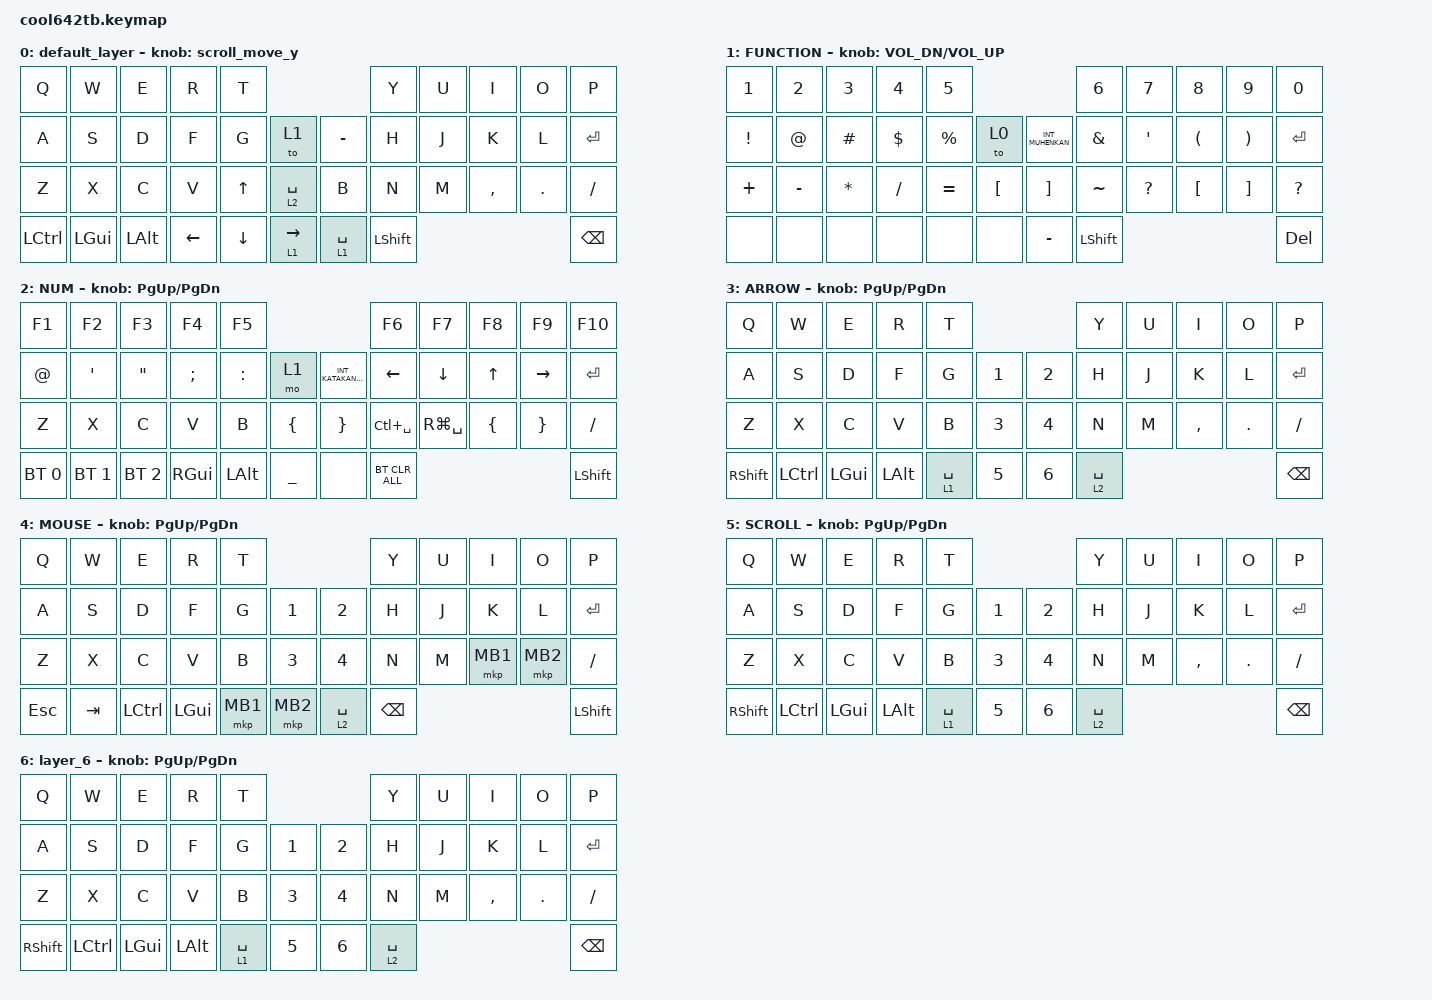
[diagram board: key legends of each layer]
#include <behaviors.dtsi>
#include <dt-bindings/zmk/bt.h>
#include <dt-bindings/zmk/keys.h>
#include <dt-bindings/zmk/pointing.h>

#define ZMK_MOUSE_DEFAULT_SCRL_VAL 100
#define MOUSE 4
#define SCROLL 5
#define NUM 6

&mt {
    flavor = "balanced";
    quick-tap-ms = <0>;
};

/ {
    combos {
        compatible = "zmk,combos";

        comb1 {
            bindings = <&kp TAB>;
            key-positions = <11 10>;
        };

        comb2 {
            bindings = <&kp ESCAPE>;
            key-positions = <0 1>;
            timeout-ms = <75>;
            layers = <0>;
        };

        comb3 {
            bindings = <&kp CAPSLOCK>;
            key-positions = <22 23>;
        };

        comb5 {
            bindings = <&bt BT_CLR_ALL>;
            key-positions = <9 8>;
            timeout-ms = <0>;
            layers = <2>;
        };

        MS_BTN1_KL {
            bindings = <&mkp MB1>;
            key-positions = <19 20>;
            timeout-ms = <50>;
        };

        MS_BTN2_LEnter {
            bindings = <&mkp MB2>;
            key-positions = <20 21>;
            timeout-ms = <50>;
        };

        comb_BS {
            bindings = <&kp BACKSPACE>;
            key-positions = <9 8>;
            timeout-ms = <50>;
            require-prior-idle-ms = <150>;
            layers = <0 1 3 4 5 6>;
        };
    };

    macros {
        to_layer_0: to_layer_0 {
            compatible = "zmk,behavior-macro-one-param";
            #binding-cells = <1>;
            bindings = <&to 0 &macro_param_1to1 &kp MACRO_PLACEHOLDER>;
            label = "TO_LAYER_0";
        };
    };

    behaviors {
        lt_to_layer_0: lt_to_layer_0 {
            compatible = "zmk,behavior-hold-tap";
            label = "LAYER_TAP_TO_0";
            bindings = <&mo>, <&to_layer_0>;

            #binding-cells = <2>;
            tapping-term-ms = <200>;
        };

        scroll_up_down: behavior_sensor_rotate_mouse_wheel_up_down {
            compatible = "zmk,behavior-sensor-rotate";
            #sensor-binding-cells = <0>;
            bindings = <&msc SCRL_UP>, <&msc SCRL_DOWN>;

            tap-ms = <20>;
        };
    };

    // エンコーダー：キー

    rot_kp: sensor_rotate_kp {
        compatible = "zmk,behavior-sensor-rotate-var";
        #sensor-binding-cells = <2>;
        bindings = <&kp>, <&kp>;
    };

    // エンコーダー：マウススクロール 

    rot_msc: sensor_rotate_msc {
        compatible = "zmk,behavior-sensor-rotate-var";
        #sensor-binding-cells = <2>;
        tap-ms = <20>;
        bindings = <&msc>, <&msc>;
    };

    // エンコーダー：マウススクロール(MOVE_Y)

    scroll_move_y: sensor_rotate_msc_for_move_y {
        compatible = "zmk,behavior-sensor-rotate";
        #sensor-binding-cells = <0>;
        bindings = <&msc MOVE_Y(20)>, <&msc MOVE_Y(-20)>;

        // tap-ms下限メモ Yの値で可変: Y(15) <81>, Y(20) <65>, Y(25) <49>

        tap-ms = <65>;
    };

    // エンコーダー：マウススクロール(MOVE_X)

    scroll_move_x: sensor_rotate_msc_for_move_x {
        compatible = "zmk,behavior-sensor-rotate";
        #sensor-binding-cells = <0>;
        bindings = <&msc MOVE_X(20)>, <&msc MOVE_X(-20)>;

        // tap-ms下限メモ Xの値で可変: X(15) <81>, X(20) <65>, X(25) <49>

        tap-ms = <65>;
    };

    keymap {
        compatible = "zmk,keymap";

        default_layer {
            bindings = <
&kp Q       &kp W    &kp E             &kp R         &kp T                                                      &kp Y          &kp U  &kp I      &kp O       &kp P
&kp A       &kp S    &kp D             &kp F         &kp G         &to 1                 &kp MINUS              &kp H          &kp J  &kp K      &kp L       &kp ENTER
&kp Z       &kp X    &kp C             &kp V         &kp UP_ARROW         &lt 2 SPACE  &kp B  &kp N          &kp M  &kp COMMA  &kp PERIOD  &kp SLASH
&kp LCTRL  &kp LEFT_GUI  &kp LEFT_ALT  &kp LEFT_ARROW  &kp DOWN_ARROW  &lt 1 RIGHT_ARROW           &lt 1 SPACE            &kp LEFT_SHIFT                                &kp BACKSPACE
            >;

            sensor-bindings = <&scroll_move_y>;
        };

        FUNCTION {
            bindings = <
&kp N1           &kp N2       &kp N3        &kp N4      &kp N5                                            &kp N6         &kp N7        &kp N8                &kp N9                 &kp N0
&kp EXCLAMATION  &kp AT_SIGN  &kp HASH      &kp DOLLAR  &kp PERCENT  &to 0             &kp INT_MUHENKAN   &kp AMPERSAND  &kp SQT       &kp LEFT_PARENTHESIS  &kp RIGHT_PARENTHESIS  &kp ENTER
&kp PLUS         &kp MINUS    &kp ASTERISK  &kp SLASH   &kp EQUAL    &kp LEFT_BRACKET  &kp RIGHT_BRACKET  &kp TILDE      &kp QUESTION  &kp LEFT_BRACKET      &kp RIGHT_BRACKET      &kp QUESTION
&none            &none        &none         &none       &none        &none             &kp MINUS          &kp LEFT_SHIFT                                                                   &kp DELETE
            >;

            sensor-bindings = <&inc_dec_kp C_VOL_DN C_VOL_UP>;
        };

        NUM {
            bindings = <
&kp F1        &kp F2        &kp F3             &kp F4         &kp F5                                                  &kp F6          &kp F7          &kp F8          &kp F9           &kp F10
&kp AT_SIGN   &kp SQT       &kp DOUBLE_QUOTES  &kp SEMICOLON  &kp COLON     &mo 1           &kp INT_KATAKANAHIRAGANA  &kp LEFT        &kp DOWN_ARROW  &kp UP_ARROW    &kp RIGHT        &kp ENTER
&kp Z         &kp X         &kp C              &kp V          &kp B         &kp LEFT_BRACE  &kp RIGHT_BRACE           &kp LC(SPACE)   &kp RG(SPACE)   &kp LEFT_BRACE  &kp RIGHT_BRACE  &kp SLASH
&bt BT_SEL 0  &bt BT_SEL 1  &bt BT_SEL 2       &kp RGUI       &kp LEFT_ALT  &kp UNDERSCORE  &none                     &bt BT_CLR_ALL                                                   &kp LEFT_SHIFT
            >;

            sensor-bindings = <&inc_dec_kp PG_UP PAGE_DOWN>;
        };

        ARROW {
            bindings = <
&kp Q       &kp W      &kp E     &kp R     &kp T                        &kp Y        &kp U  &kp I      &kp O       &kp P
&kp A       &kp S      &kp D     &kp F     &kp G        &kp N1  &kp N2  &kp H        &kp J  &kp K      &kp L       &kp ENTER
&kp Z       &kp X      &kp C     &kp V     &kp B        &kp N3  &kp N4  &kp N        &kp M  &kp COMMA  &kp PERIOD  &kp SLASH
&kp RSHIFT  &kp LCTRL  &kp LGUI  &kp LALT  &lt 1 SPACE  &kp N5  &kp N6  &lt 2 SPACE                                &kp BSPC
            >;

            sensor-bindings = <&inc_dec_kp PG_UP PAGE_DOWN>;
        };

        MOUSE {
            bindings = <
&kp Q       &kp W    &kp E             &kp R         &kp T                            &kp Y          &kp U  &kp I     &kp O     &kp P
&kp A       &kp S    &kp D             &kp F         &kp G     &kp N1    &kp N2       &kp H          &kp J  &kp K     &kp L     &kp ENTER
&kp Z       &kp X    &kp C             &kp V         &kp B     &kp N3    &kp N4       &kp N          &kp M  &mkp MB1  &mkp MB2  &kp SLASH
&kp ESCAPE  &kp TAB  &kp LEFT_CONTROL  &kp LEFT_GUI  &mkp MB1  &mkp MB2  &lt 2 SPACE  &kp BACKSPACE                             &kp LEFT_SHIFT
            >;

            sensor-bindings = <&inc_dec_kp PG_UP PAGE_DOWN>;
        };

        SCROLL {
            bindings = <
&kp Q       &kp W      &kp E     &kp R     &kp T                        &kp Y        &kp U  &kp I      &kp O       &kp P
&kp A       &kp S      &kp D     &kp F     &kp G        &kp N1  &kp N2  &kp H        &kp J  &kp K      &kp L       &kp ENTER
&kp Z       &kp X      &kp C     &kp V     &kp B        &kp N3  &kp N4  &kp N        &kp M  &kp COMMA  &kp PERIOD  &kp SLASH
&kp RSHIFT  &kp LCTRL  &kp LGUI  &kp LALT  &lt 1 SPACE  &kp N5  &kp N6  &lt 2 SPACE                                &kp BSPC
            >;

            sensor-bindings = <&inc_dec_kp PG_UP PAGE_DOWN>;
        };

        layer_6 {
            bindings = <
&kp Q       &kp W      &kp E     &kp R     &kp T                        &kp Y        &kp U  &kp I      &kp O       &kp P
&kp A       &kp S      &kp D     &kp F     &kp G        &kp N1  &kp N2  &kp H        &kp J  &kp K      &kp L       &kp ENTER
&kp Z       &kp X      &kp C     &kp V     &kp B        &kp N3  &kp N4  &kp N        &kp M  &kp COMMA  &kp PERIOD  &kp SLASH
&kp RSHIFT  &kp LCTRL  &kp LGUI  &kp LALT  &lt 1 SPACE  &kp N5  &kp N6  &lt 2 SPACE                                &kp BSPC
            >;

            sensor-bindings = <&inc_dec_kp PG_UP PAGE_DOWN>;
        };
    };
};
